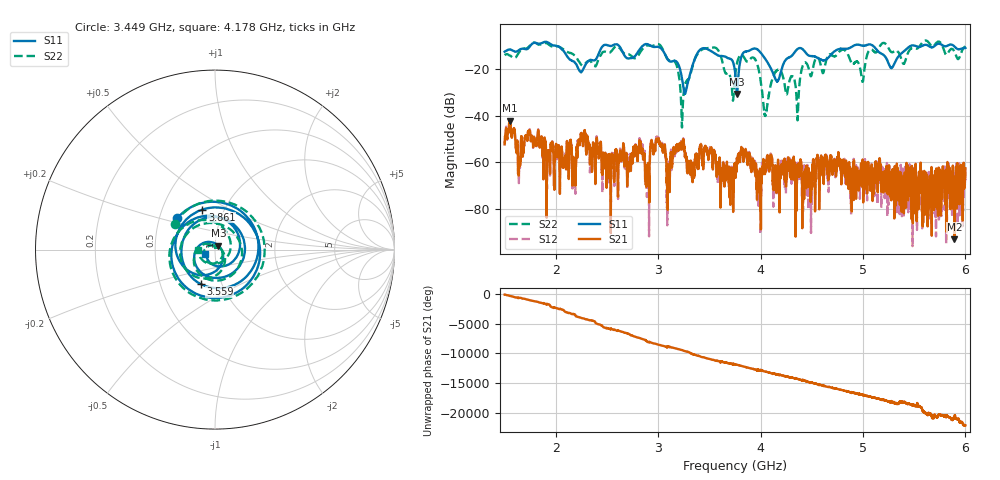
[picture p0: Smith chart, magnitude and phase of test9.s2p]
!Keysight Technologies N9923A: A.08.15
!Date: Monday, 19 February 2024 15:54:59
!Timezone: (GMT-05:00) Eastern Time (US & Canada)
!Model: N9923A
!Serial: MY52412730
!GPS Latitude:
!GPS Longitude:
!GPS TimeStamp: 0001-01-01 00:00:00Z
!GPS Seconds Since Last Read: 0
!CHECKSUM:1396250083
!Correction: S11(ON Q)S21(ON Q)S12(ON Q)S22(ON Q)
!S2P File: Measurements:S11,S21,S12,S22:
# Hz S DB R 50
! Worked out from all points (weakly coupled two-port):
!   4001 points, 1.5 GHz to 6 GHz, reference 50 ohm
!   highest |S21| = -42.15 dB at 1.548 GHz (marker M1); lowest = -92.8 dB at 5.892 GHz (marker M2)
!   lowest |S11| = -30.8 dB at 3.769 GHz (marker M3), VSWR 1.06, Z = 51.9 + j2.24 ohm
!   |S11| at or under -10 dB: 1.969 GHz to 2.469 GHz (499.4 MHz wide, 22.5 % of centre); 2.917 GHz to 4.918 GHz (2.001 GHz wide, 51.1 % of centre); 5.09 GHz to 5.592 GHz (501.2 MHz wide, 9.38 % of centre) (the widest 3 of 10)
!   |S22| runs from -45.1 to -8.0 dB; largest |S21 - S12| = 0.001
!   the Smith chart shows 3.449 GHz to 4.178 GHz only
!   S11 on the Smith chart (normalised r, x): 3.449 GHz: 0.62, +0.23; 3.559 GHz: 0.79, -0.32; 3.861 GHz: 0.79, +0.37; 4.178 GHz: 0.90, -0.04
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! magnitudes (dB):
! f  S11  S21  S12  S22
! 1.5 GHz  -12.8  -52.3  -51.8  -14.2
! 1.548 GHz  -11.9  -42.2  -42.5  -14.4
! 2.177 GHz  -17.0  -58.4  -63.0  -14.2
! 2.25 GHz  -21.4  -48.5  -48.3  -18.5
! 2.518 GHz  -10.2  -59.8  -59.7  -13.2
! 2.828 GHz  -11.3  -52.1  -50.6  -12.8
! 2.893 GHz  -9.5  -62.1  -69.3  -10.1
! 3.001 GHz  -10.7  -50.3  -49.3  -9.5
! 3.096 GHz  -16.2  -63.3  -59.6  -16.3
! 3.236 GHz  -25.0  -51.6  -51.9  -41.0
! 3.449 GHz  -11.3  -54.8  -55.3  -11.5
! 3.559 GHz  -13.7  -56.6  -58.2  -11.1
! 3.75 GHz  -21.2  -62.7  -61.7  -23.4
! 3.769 GHz  -30.8  -58.3  -61.3  -17.8
! 3.861 GHz  -12.6  -56.4  -56.9  -16.8
! 4.047 GHz  -15.9  -62.5  -62.1  -40.2
! 4.178 GHz  -24.5  -69.9  -63.4  -20.4
! 4.359 GHz  -11.7  -61.9  -65.4  -39.8
! 4.5 GHz  -14.7  -67.1  -72.9  -22.3
! 5.251 GHz  -17.9  -65.5  -67.6  -11.3
! 5.892 GHz  -10.5  -92.8  -75.7  -12.7
! 6 GHz  -11.2  -62.5  -66.3  -10.5
